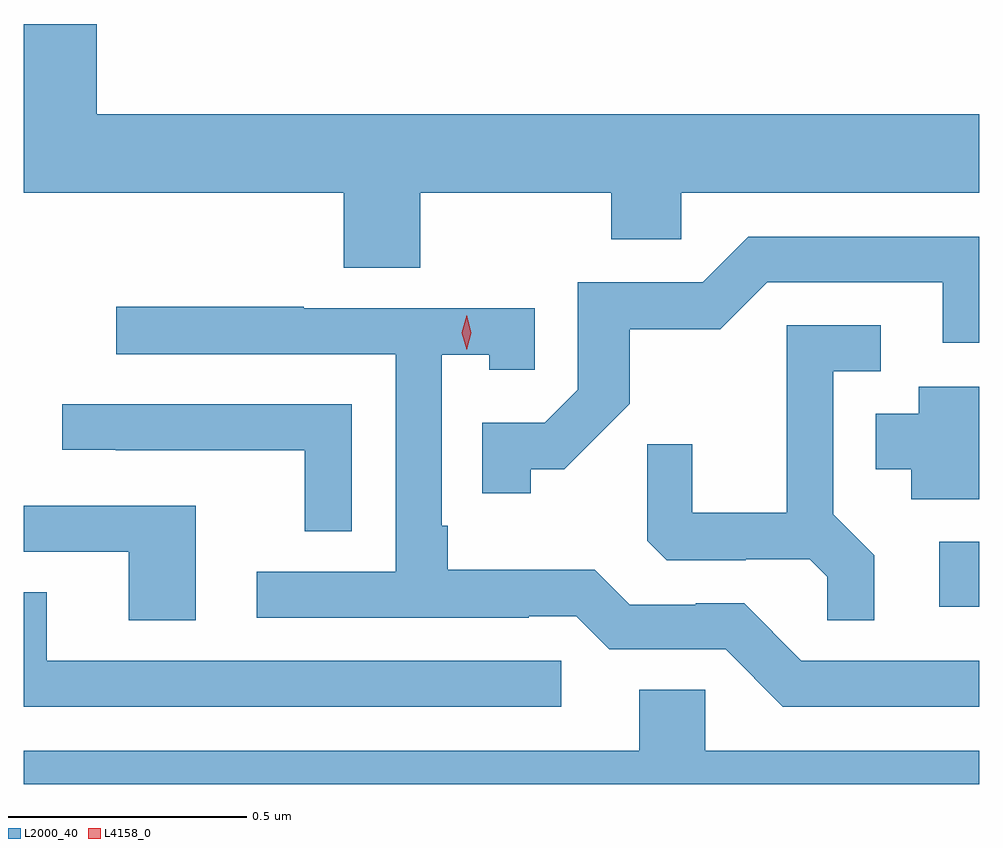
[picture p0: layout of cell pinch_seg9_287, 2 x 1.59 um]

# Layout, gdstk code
import gdstk
lib = gdstk.Library(unit=1e-6, precision=1e-09)
def R(c, l, rs):  # rectangles x0, y0, x1, y1
    for r in rs: c.add(gdstk.rectangle(r[:2], r[2:], *l))
def P(c, l, *ps):  # polygons
    for p in ps: c.add(gdstk.Polygon(p, *l))
L2000_40 = (2000, 40)
L4158_0 = (4158, 0)

pinch_seg9_287 = lib.new_cell('pinch_seg9_287')
R(pinch_seg9_287, L2000_40, [(394.707,1188.893,394.791,1189.029)])
P(pinch_seg9_287, L2000_40, [(393.621,1189.76),(394.021,1189.76),(394.021,1189.662),(394.167,1189.662),(394.167,1189.76),(394.791,1189.76),(394.791,1189.924),(392.944,1189.924),(392.944,1190.113),(392.791,1190.113),(392.791,1189.76),(393.461,1189.76),(393.461,1189.603),(393.621,1189.603)],
  [(393.852,1189.181),(393.922,1189.181),(394.06,1189.318),(394.06,1189.474),(394.249,1189.474),(394.347,1189.572),(394.715,1189.572),(394.715,1189.446),(394.791,1189.446),(394.791,1189.668),(394.308,1189.668),(394.212,1189.572),(393.951,1189.572),(393.951,1189.347),(393.882,1189.278),(393.751,1189.278),(393.751,1189.131),(393.852,1189.131)],
  [(394.791,1188.78),(394.419,1188.78),(394.299,1188.9),(394.198,1188.9),(394.198,1188.897),(394.059,1188.897),(393.986,1188.97),(393.679,1188.97),(393.679,1189.063),(393.666,1189.063),(393.666,1189.421),(393.765,1189.421),(393.765,1189.389),(393.861,1189.389),(393.861,1189.518),(393.377,1189.518),(393.377,1189.521),(392.985,1189.521),(392.985,1189.422),(393.57,1189.422),(393.57,1188.966),(393.279,1188.966),(393.279,1188.87),(393.848,1188.87),(393.848,1188.873),(393.948,1188.873),(394.017,1188.804),(394.26,1188.804),(394.38,1188.684),(394.791,1188.684)],
  [(394.571,1189.001),(394.485,1189.087),(394.485,1189.386),(394.585,1189.386),(394.585,1189.482),(394.388,1189.482),(394.388,1189.09),(394.19,1189.09),(394.19,1189.233),(394.096,1189.233),(394.096,1189.031),(394.137,1188.99),(394.302,1188.99),(394.302,1188.993),(394.436,1188.993),(394.473,1188.956),(394.473,1188.865),(394.571,1188.865)],
  [(394.791,1189.354),(394.664,1189.354),(394.664,1189.297),(394.574,1189.297),(394.574,1189.181),(394.649,1189.181),(394.649,1189.118),(394.791,1189.118)],
  [(393.477,1189.317),(392.871,1189.317),(392.871,1189.222),(392.983,1189.222),(392.983,1189.221),(393.379,1189.221),(393.379,1189.051),(393.477,1189.051)],
  [(393.151,1189.104),(392.791,1189.104),(392.791,1189.008),(393.011,1189.008),(393.011,1188.865),(393.151,1188.865)],
  [(393.916,1188.78),(392.839,1188.78),(392.839,1188.923),(392.791,1188.923),(392.791,1188.684),(393.916,1188.684)],
  [(394.791,1188.592),(394.218,1188.592),(394.218,1188.719),(394.079,1188.719),(394.079,1188.592),(392.791,1188.592),(392.791,1188.522),(394.791,1188.522)])
P(pinch_seg9_287, L4158_0, [(393.718,1189.431),(393.718,1189.431),(393.708,1189.467),(393.718,1189.503),(393.718,1189.503),(393.718,1189.503),(393.728,1189.467),(393.718,1189.431)])

lib.write_gds('pinch_seg9_287.gds')
